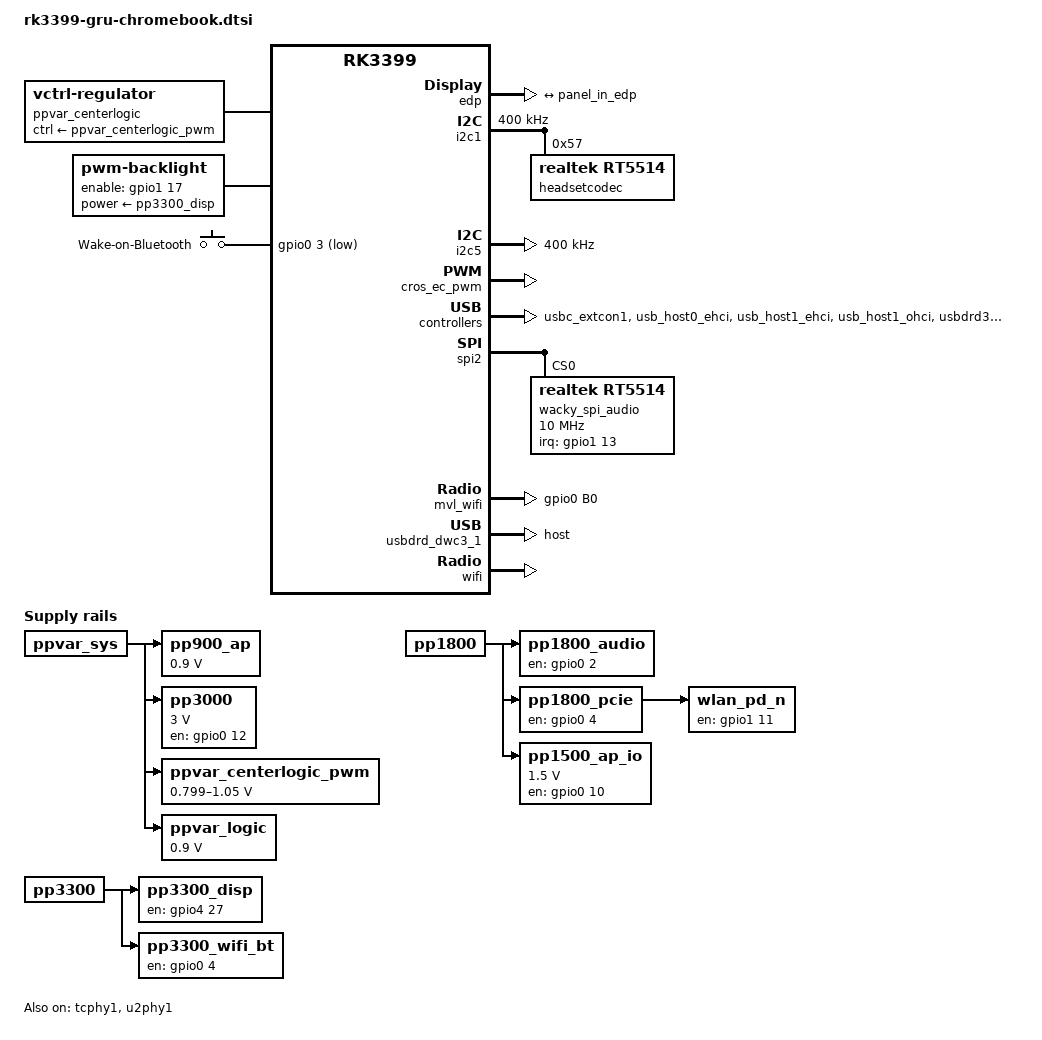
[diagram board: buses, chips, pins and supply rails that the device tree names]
// SPDX-License-Identifier: (GPL-2.0+ OR MIT)
/*
 * Google Gru-Chromebook shared properties
 *
 * Copyright 2018 Google, Inc
 */

#include "rk3399-gru.dtsi"

/ {
	pp900_ap: pp900-ap {
		compatible = "regulator-fixed";
		regulator-name = "pp900_ap";

		/* EC turns on w/ pp900_ap_en; always on for AP */
		regulator-always-on;
		regulator-boot-on;
		regulator-min-microvolt = <900000>;
		regulator-max-microvolt = <900000>;

		vin-supply = <&ppvar_sys>;
	};

	/* EC turns on w/ pp900_usb_en */
	pp900_usb: pp900-ap {
	};

	/* EC turns on w/ pp900_pcie_en */
	pp900_pcie: pp900-ap {
	};

	pp3000: pp3000 {
		compatible = "regulator-fixed";
		regulator-name = "pp3000";
		pinctrl-names = "default";
		pinctrl-0 = <&pp3000_en>;

		enable-active-high;
		gpio = <&gpio0 12 GPIO_ACTIVE_HIGH>;

		regulator-always-on;
		regulator-boot-on;
		regulator-min-microvolt = <3000000>;
		regulator-max-microvolt = <3000000>;

		vin-supply = <&ppvar_sys>;
	};

	ppvar_centerlogic_pwm: ppvar-centerlogic-pwm {
		compatible = "pwm-regulator";
		regulator-name = "ppvar_centerlogic_pwm";

		pwms = <&pwm3 0 3337 0>;
		pwm-supply = <&ppvar_sys>;
		pwm-dutycycle-range = <100 0>;
		pwm-dutycycle-unit = <100>;

		/* EC turns on w/ ppvar_centerlogic_en; always on for AP */
		regulator-always-on;
		regulator-boot-on;
		regulator-min-microvolt = <799434>;
		regulator-max-microvolt = <1049925>;
	};

	ppvar_centerlogic: ppvar-centerlogic {
		compatible = "vctrl-regulator";
		regulator-name = "ppvar_centerlogic";

		regulator-min-microvolt = <799434>;
		regulator-max-microvolt = <1049925>;

		ctrl-supply = <&ppvar_centerlogic_pwm>;
		ctrl-voltage-range = <799434 1049925>;

		regulator-settling-time-up-us = <378>;
		min-slew-down-rate = <225>;
		ovp-threshold-percent = <16>;
	};

	/* Schematics call this PPVAR even though it's fixed */
	ppvar_logic: ppvar-logic {
		compatible = "regulator-fixed";
		regulator-name = "ppvar_logic";

		/* EC turns on w/ ppvar_logic_en; always on for AP */
		regulator-always-on;
		regulator-boot-on;
		regulator-min-microvolt = <900000>;
		regulator-max-microvolt = <900000>;

		vin-supply = <&ppvar_sys>;
	};

	pp1800_audio: pp1800-audio {
		compatible = "regulator-fixed";
		regulator-name = "pp1800_audio";
		pinctrl-names = "default";
		pinctrl-0 = <&pp1800_audio_en>;

		enable-active-high;
		gpio = <&gpio0 2 GPIO_ACTIVE_HIGH>;

		regulator-always-on;
		regulator-boot-on;

		vin-supply = <&pp1800>;
	};

	/* gpio is shared with pp3300_wifi_bt */
	pp1800_pcie: pp1800-pcie {
		compatible = "regulator-fixed";
		regulator-name = "pp1800_pcie";
		pinctrl-names = "default";
		pinctrl-0 = <&wlan_module_pd_l>;

		enable-active-high;
		gpio = <&gpio0 4 GPIO_ACTIVE_HIGH>;

		/*
		 * Need to wait 1ms + ramp-up time before we can power on WiFi.
		 * This has been approximated as 8ms total.
		 */
		regulator-enable-ramp-delay = <8000>;

		vin-supply = <&pp1800>;
	};

	/* Always on; plain and simple */
	pp3000_ap: pp3000_emmc: pp3000 {
	};

	pp1500_ap_io: pp1500-ap-io {
		compatible = "regulator-fixed";
		regulator-name = "pp1500_ap_io";
		pinctrl-names = "default";
		pinctrl-0 = <&pp1500_en>;

		enable-active-high;
		gpio = <&gpio0 10 GPIO_ACTIVE_HIGH>;

		regulator-always-on;
		regulator-boot-on;
		regulator-min-microvolt = <1500000>;
		regulator-max-microvolt = <1500000>;

		vin-supply = <&pp1800>;
	};

	pp3300_disp: pp3300-disp {
		compatible = "regulator-fixed";
		regulator-name = "pp3300_disp";
		pinctrl-names = "default";
		pinctrl-0 = <&pp3300_disp_en>;

		enable-active-high;
		gpio = <&gpio4 27 GPIO_ACTIVE_HIGH>;

		startup-delay-us = <2000>;
		vin-supply = <&pp3300>;
	};

	/* EC turns on w/ pp3300_usb_en_l */
	pp3300_usb: pp3300 {
	};

	/* gpio is shared with pp1800_pcie and pinctrl is set there */
	pp3300_wifi_bt: pp3300-wifi-bt {
		compatible = "regulator-fixed";
		regulator-name = "pp3300_wifi_bt";

		enable-active-high;
		gpio = <&gpio0 4 GPIO_ACTIVE_HIGH>;

		vin-supply = <&pp3300>;
	};

	/*
	 * This is a bit of a hack. The WiFi module should be reset at least
	 * 1ms after its regulators have ramped up (max rampup time is ~7ms).
	 * With some stretching of the imagination, we can call the 1.8V
	 * regulator a supply.
	 */
	wlan_pd_n: wlan-pd-n {
		compatible = "regulator-fixed";
		regulator-name = "wlan_pd_n";
		pinctrl-names = "default";
		pinctrl-0 = <&wlan_module_reset_l>;

		enable-active-high;
		gpio = <&gpio1 11 GPIO_ACTIVE_HIGH>;

		vin-supply = <&pp1800_pcie>;
	};

	backlight: backlight {
		compatible = "pwm-backlight";
		enable-gpios = <&gpio1 17 GPIO_ACTIVE_HIGH>;
		power-supply = <&pp3300_disp>;
		pinctrl-names = "default";
		pinctrl-0 = <&bl_en>;
		pwm-delay-us = <10000>;
	};

	gpio_keys: gpio-keys {
		compatible = "gpio-keys";
		pinctrl-names = "default";
		pinctrl-0 = <&bt_host_wake_l>;

		wake_on_bt: wake-on-bt {
			label = "Wake-on-Bluetooth";
			gpios = <&gpio0 3 GPIO_ACTIVE_LOW>;
			linux,code = <KEY_WAKEUP>;
			wakeup-source;
		};
	};
};

&ppvar_bigcpu {
	min-slew-down-rate = <225>;
	ovp-threshold-percent = <16>;
};

&ppvar_litcpu {
	min-slew-down-rate = <225>;
	ovp-threshold-percent = <16>;
};

&ppvar_gpu {
	min-slew-down-rate = <225>;
	ovp-threshold-percent = <16>;
};

&cdn_dp {
	extcon = <&usbc_extcon0>, <&usbc_extcon1>;
};

&edp {
	status = "okay";

	ports {
		edp_out: port@1 {
			reg = <1>;
			#address-cells = <1>;
			#size-cells = <0>;

			edp_out_panel: endpoint@0 {
				reg = <0>;
				remote-endpoint = <&panel_in_edp>;
			};
		};
	};
};

&gpio0 {
	gpio-line-names = /* GPIO0 A 0-7 */
			  "AP_RTC_CLK_IN",
			  "EC_AP_INT_L",
			  "PP1800_AUDIO_EN",
			  "BT_HOST_WAKE_L",
			  "WLAN_MODULE_PD_L",
			  "H1_INT_OD_L",
			  "CENTERLOGIC_DVS_PWM",
			  "",

			  /* GPIO0 B 0-4 */
			  "WIFI_HOST_WAKE_L",
			  "PMUIO2_33_18_L",
			  "PP1500_EN",
			  "AP_EC_WARM_RESET_REQ",
			  "PP3000_EN";
};

&gpio1 {
	gpio-line-names = /* GPIO1 A 0-7 */
			  "",
			  "",
			  "SPK_PA_EN",
			  "",
			  "TRACKPAD_INT_L",
			  "AP_EC_S3_S0_L",
			  "AP_EC_OVERTEMP",
			  "AP_SPI_FLASH_MISO",

			  /* GPIO1 B 0-7 */
			  "AP_SPI_FLASH_MOSI_R",
			  "AP_SPI_FLASH_CLK_R",
			  "AP_SPI_FLASH_CS_L_R",
			  "WLAN_MODULE_RESET_L",
			  "WIFI_DISABLE_L",
			  "MIC_INT",
			  "",
			  "AP_I2C_DVS_SDA",

			  /* GPIO1 C 0-7 */
			  "AP_I2C_DVS_SCL",
			  "AP_BL_EN",
			  /*
			   * AP_FLASH_WP is crossystem ABI. Schematics call it
			   * AP_FW_WP or CPU1_FW_WP, depending on the variant.
			   */
			  "AP_FLASH_WP",
			  "LITCPU_DVS_PWM",
			  "AP_I2C_AUDIO_SDA",
			  "AP_I2C_AUDIO_SCL",
			  "",
			  "HEADSET_INT_L";
};

&gpio2 {
	gpio-line-names = /* GPIO2 A 0-7 */
			  "",
			  "",
			  "SD_IO_PWR_EN",
			  "",
			  "",
			  "",
			  "",
			  "",

			  /* GPIO2 B 0-7 */
			  "",
			  "",
			  "",
			  "",
			  "",
			  "",
			  "",
			  "",

			  /* GPIO2 C 0-7 */
			  "",
			  "",
			  "",
			  "",
			  "AP_SPI_EC_MISO",
			  "AP_SPI_EC_MOSI",
			  "AP_SPI_EC_CLK",
			  "AP_SPI_EC_CS_L",

			  /* GPIO2 D 0-4 */
			  "BT_DEV_WAKE_L",
			  "",
			  "WIFI_PCIE_CLKREQ_L",
			  "WIFI_PERST_L",
			  "SD_PWR_3000_1800_L";
};

&gpio3 {
	gpio-line-names = /* GPIO3 A 0-7 */
			  "",
			  "",
			  "",
			  "",
			  "AP_SPI_TPM_MISO",
			  "AP_SPI_TPM_MOSI_R",
			  "AP_SPI_TPM_CLK_R",
			  "AP_SPI_TPM_CS_L_R",

			  /* GPIO3 B 0-7 */
			  "EC_IN_RW",
			  "",
			  "AP_I2C_TP_SDA",
			  "AP_I2C_TP_SCL",
			  "AP_I2C_TP_PU_EN",
			  "TOUCH_INT_L",
			  "",
			  "",

			  /* GPIO3 C 0-7 */
			  "",
			  "",
			  "",
			  "",
			  "",
			  "",
			  "",
			  "",

			  /* GPIO3 D 0-7 */
			  "I2S0_SCLK",
			  "I2S0_LRCK_RX",
			  "I2S0_LRCK_TX",
			  "I2S0_SDI_0",
			  "I2S0_SDI_1",
			  "",
			  "I2S0_SDO_1",
			  "I2S0_SDO_0";
};

&gpio4 {
	gpio-line-names = /* GPIO4 A 0-7 */
			  "I2S_MCLK",
			  "AP_I2C_MIC_SDA",
			  "AP_I2C_MIC_SCL",
			  "",
			  "",
			  "",
			  "",
			  "",

			  /* GPIO4 B 0-7 */
			  "",
			  "",
			  "",
			  "",
			  "",
			  "",
			  "",
			  "",

			  /* GPIO4 C 0-7 */
			  "AP_I2C_TS_SDA",
			  "AP_I2C_TS_SCL",
			  "GPU_DVS_PWM",
			  "UART_DBG_TX_AP_RX",
			  "UART_AP_TX_DBG_RX",
			  "",
			  "BIGCPU_DVS_PWM",
			  "EDP_HPD_3V0",

			  /* GPIO4 D 0-5 */
			  "SD_CARD_DET_L",
			  "USB_DP_HPD",
			  "TOUCH_RESET_L",
			  "PP3300_DISP_EN",
			  "",
			  "SD_SLOT_PWR_EN";
};

ap_i2c_mic: &i2c1 {
	status = "okay";

	clock-frequency = <400000>;

	/* These are relatively safe rise/fall times */
	i2c-scl-falling-time-ns = <50>;
	i2c-scl-rising-time-ns = <300>;

	headsetcodec: rt5514@57 {
		compatible = "realtek,rt5514";
		reg = <0x57>;
		realtek,dmic-init-delay-ms = <20>;
	};
};

ap_i2c_tp: &i2c5 {
	status = "okay";

	clock-frequency = <400000>;

	/* These are relatively safe rise/fall times */
	i2c-scl-falling-time-ns = <50>;
	i2c-scl-rising-time-ns = <300>;

	/*
	 * Note strange pullup enable.  Apparently this avoids leakage but
	 * still allows us to get nice 4.7K pullups for high speed i2c
	 * transfers.  Basically we want the pullup on whenever the ap is
	 * alive, so the "en" pin just gets set to output high.
	 */
	pinctrl-0 = <&i2c5_xfer &ap_i2c_tp_pu_en>;
};

&cros_ec {
	cros_ec_pwm: pwm {
		compatible = "google,cros-ec-pwm";
		#pwm-cells = <1>;
	};

	usbc_extcon1: extcon1 {
		compatible = "google,extcon-usbc-cros-ec";
		google,usb-port-id = <1>;
	};
};

&sound {
	rockchip,codec = <&max98357a &headsetcodec
			  &codec &wacky_spi_audio &cdn_dp>;
};

&spi2 {
	wacky_spi_audio: spi2@0 {
		compatible = "realtek,rt5514";
		reg = <0>;
		interrupt-parent = <&gpio1>;
		interrupts = <13 IRQ_TYPE_LEVEL_HIGH>;
		pinctrl-names = "default";
		pinctrl-0 = <&mic_int>;
		/* May run faster once verified. */
		spi-max-frequency = <10000000>;
		wakeup-source;
	};
};

&pci_rootport {
	mvl_wifi: wifi@0,0 {
		compatible = "pci1b4b,2b42";
		reg = <0x83010000 0x0 0x00000000 0x0 0x00100000
		       0x83010000 0x0 0x00100000 0x0 0x00100000>;
		interrupt-parent = <&gpio0>;
		interrupts = <8 IRQ_TYPE_LEVEL_LOW>;
		pinctrl-names = "default";
		pinctrl-0 = <&wlan_host_wake_l>;
		wakeup-source;
	};
};

&tcphy1 {
	status = "okay";
	extcon = <&usbc_extcon1>;
};

&u2phy1 {
	status = "okay";
};

&usb_host0_ehci {
	status = "okay";
};

&usb_host1_ehci {
	status = "okay";
};

&usb_host1_ohci {
	status = "okay";
};

&usbdrd3_1 {
	status = "okay";
	extcon = <&usbc_extcon1>;
};

&usbdrd_dwc3_1 {
	status = "okay";
	dr_mode = "host";
};

&pinctrl {
	discrete-regulators {
		pp1500_en: pp1500-en {
			rockchip,pins = <0 RK_PB2 RK_FUNC_GPIO
					 &pcfg_pull_none>;
		};

		pp1800_audio_en: pp1800-audio-en {
			rockchip,pins = <0 RK_PA2 RK_FUNC_GPIO
					 &pcfg_pull_down>;
		};

		pp3000_en: pp3000-en {
			rockchip,pins = <0 RK_PB4 RK_FUNC_GPIO
					 &pcfg_pull_none>;
		};

		pp3300_disp_en: pp3300-disp-en {
			rockchip,pins = <4 RK_PD3 RK_FUNC_GPIO
					 &pcfg_pull_none>;
		};

		wlan_module_pd_l: wlan-module-pd-l {
			rockchip,pins = <0 RK_PA4 RK_FUNC_GPIO
					 &pcfg_pull_down>;
		};
	};
};

&wifi {
	wifi_perst_l: wifi-perst-l {
		rockchip,pins = <2 RK_PD3 RK_FUNC_GPIO &pcfg_pull_none>;
	};

	wlan_host_wake_l: wlan-host-wake-l {
		rockchip,pins = <0 RK_PB0 RK_FUNC_GPIO &pcfg_pull_none>;
	};
};
